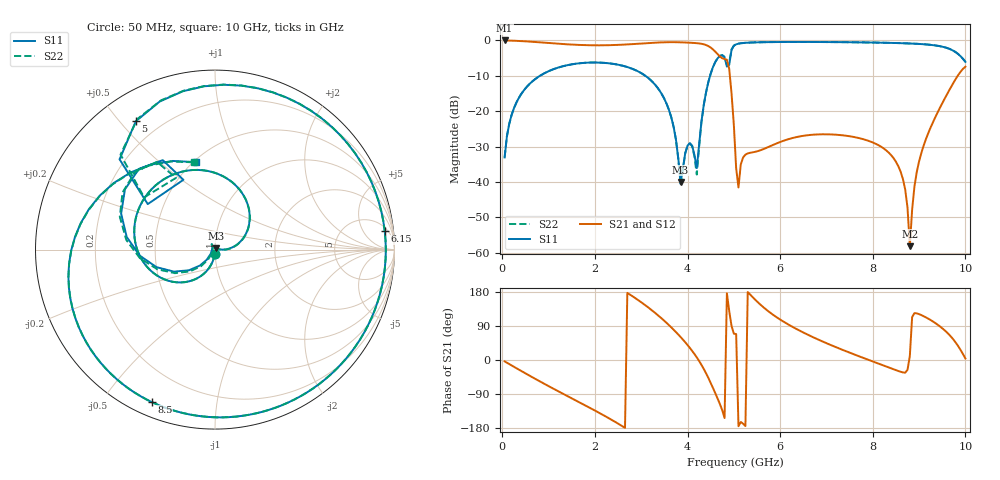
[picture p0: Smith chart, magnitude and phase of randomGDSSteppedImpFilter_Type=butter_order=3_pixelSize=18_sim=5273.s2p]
! freq	dB(S11)	phase(S11)	dB(S12)	phase(S12)
!  dB(S21)	phase(S21)	dB(S22)	phase(S22)
!S-par simulation data
#  GHz  S  DB  R 50
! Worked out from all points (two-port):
!   200 points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, 50 MHz to 10 GHz, reference 50 ohm
!   highest |S21| = -0.01 dB at 50 MHz (marker M1); lowest = -58.1 dB at 8.8 GHz (marker M2)
!   |S21| within 3 dB of the highest: start of sweep to 4.586 GHz
!   lowest |S11| = -40.0 dB at 3.85 GHz (marker M3), VSWR 1.02, Z = 50.6 + j0.803 ohm
!   |S11| at or under -10 dB: start of sweep to 812.4 MHz; 3.09 GHz to 4.487 GHz (1.397 GHz wide, 36.9 % of centre)
!   |S22| runs from -40.6 to -0.4 dB; largest |S21 - S12| = 0
!   S11 on the Smith chart (normalised r, x): 50 MHz: 1.00, -0.04; 5 GHz: 0.11, +0.55; 6.15 GHz: 7, +15; 8.5 GHz: 0.06, -0.67; 10 GHz: 0.52, +0.67
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0.05  -33.05 -93.5  -0.01 -3.6  -0.01 -3.6  -33.05 -93.5
0.5  -13.54 -125.9  -0.25 -35.3  -0.25 -35.3  -13.54 -125.9
1.75  -6.35 152.4  -1.31 -117.1  -1.31 -117.1  -6.35 152.4
2.7  -7.52 87.4  -1.13 177.1  -1.13 177.1  -7.52 87.3
3.4  -14.24 27.2  -0.56 114.1  -0.56 114.1  -14.24 26.7
3.7  -24.42 1.1  -0.49 80.0  -0.49 80.0  -24.44 -0.1
3.85  -39.98 52.4  -0.53 60.8  -0.53 60.8  -40.56 50.7
4.05  -29.01 121.9  -0.64 32.0  -0.64 32.0  -29.10 120.7
4.2  -36.07 173.0  -0.77 6.8  -0.77 6.8  -37.88 172.7
4.5  -9.37 -163.3  -2.01 -60.4  -2.01 -60.4  -9.38 -161.2
4.85  -7.40 114.3  -5.45 176.1  -5.45 176.1  -6.84 118.5
5  -1.51 121.7  -23.85 69.5  -23.85 69.5  -1.45 120.7
5.05  -1.10 110.5  -36.12 68.4  -36.12 68.4  -1.07 109.9
6.15  -0.43 6.2  -28.00 95.6  -28.00 95.6  -0.43 6.4
6.7  -0.43 -26.5  -26.64 60.8  -26.64 60.8  -0.43 -26.3
8.35  -0.68 -105.6  -31.77 -20.0  -31.77 -20.0  -0.68 -105.4
8.5  -0.73 -112.6  -34.26 -26.8  -34.26 -26.8  -0.73 -112.4
8.7  -0.81 -122.3  -42.10 -33.5  -42.10 -33.5  -0.81 -122.0
8.8  -0.86 -127.3  -58.12 10.1  -58.12 10.1  -0.86 -127.1
9.05  -1.03 -141.1  -31.75 118.4  -31.75 118.4  -1.02 -140.8
9.6  -2.12 174.8  -15.29 72.9  -15.29 72.9  -2.11 175.4
10  -6.04 102.1  -7.42 4.0  -7.42 4.0  -6.03 103.3
